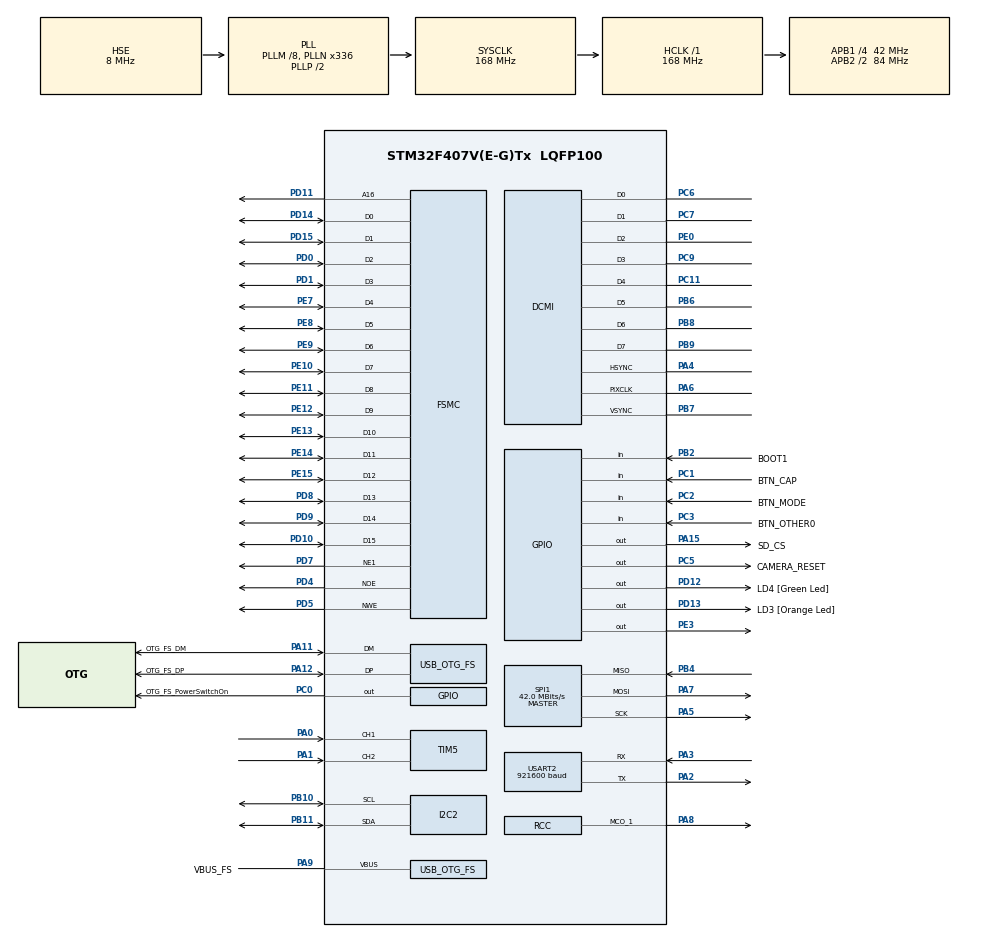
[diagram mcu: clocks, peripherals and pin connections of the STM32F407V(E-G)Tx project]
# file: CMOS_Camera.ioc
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DCMI.JPEGMode=DCMI_JPEG_ENABLE
DCMI.PCKPolarity=DCMI_PCKPOLARITY_RISING
DCMI.VSPolarity=DCMI_VSPOLARITY_HIGH
Dma.DCMI.1.Direction=DMA_PERIPH_TO_MEMORY
Dma.DCMI.1.FIFOMode=DMA_FIFOMODE_DISABLE
Dma.DCMI.1.Instance=DMA2_Stream1
Dma.DCMI.1.MemDataAlignment=DMA_MDATAALIGN_WORD
Dma.DCMI.1.MemInc=DMA_MINC_DISABLE
Dma.DCMI.1.Mode=DMA_NORMAL
Dma.DCMI.1.PeriphDataAlignment=DMA_PDATAALIGN_WORD
Dma.DCMI.1.PeriphInc=DMA_PINC_DISABLE
Dma.DCMI.1.Priority=DMA_PRIORITY_LOW
Dma.Request0=USART2_RX
Dma.Request1=DCMI
Dma.USART2_RX.0.Direction=DMA_PERIPH_TO_MEMORY
Dma.USART2_RX.0.FIFOMode=DMA_FIFOMODE_DISABLE
Dma.USART2_RX.0.Instance=DMA1_Stream5
Dma.USART2_RX.0.MemDataAlignment=DMA_MDATAALIGN_BYTE
Dma.USART2_RX.0.MemInc=DMA_MINC_ENABLE
Dma.USART2_RX.0.Mode=DMA_CIRCULAR
Dma.USART2_RX.0.PeriphDataAlignment=DMA_PDATAALIGN_BYTE
Dma.USART2_RX.0.PeriphInc=DMA_PINC_DISABLE
Dma.USART2_RX.0.Priority=DMA_PRIORITY_LOW
FREERTOS.Tasks01=defaultTask,0,128,StartDefaultTask,Default,NULL,Dynamic,NULL,NULL
FREERTOS.configENABLE_FPU=0
FREERTOS.configUSE_NEWLIB_REENTRANT=1
FREERTOS.copyHeapFile=1
FSMC.AddressSetupTime1=2
FSMC.BusTurnAroundDuration1=1
FSMC.DataSetupTime1=4
Mcu.Family=STM32F4
Mcu.Name=STM32F407V(E-G)Tx
Mcu.Package=LQFP100
NVIC.DCMI_IRQn=true\:5\:0\:false\:false\:true\:true\:true\:true\:true
NVIC.DMA1_Stream5_IRQn=true\:5\:0\:false\:false\:true\:true\:false\:true\:true
NVIC.DMA2_Stream1_IRQn=true\:5\:0\:false\:false\:true\:true\:false\:true\:true
NVIC.OTG_FS_IRQn=true\:5\:0\:false\:false\:true\:true\:true\:true\:true
NVIC.PriorityGroup=NVIC_PRIORITYGROUP_4
NVIC.RCC_IRQn=true\:5\:0\:false\:false\:true\:true\:true\:false\:true
NVIC.SPI1_IRQn=true\:5\:0\:false\:false\:true\:true\:true\:true\:true
PA0-WKUP.Signal=S_TIM5_CH1
PA1.Signal=S_TIM5_CH2
PA10.GPIO_Label=OTG_FS_ID
PA10.GPIO_Mode=GPIO_MODE_AF_PP
PA10.GPIO_PuPd=GPIO_NOPULL
PA10.GPIO_Speed=GPIO_SPEED_FREQ_LOW
PA10.Signal=USB_OTG_FS_ID
PA11.GPIO_Label=OTG_FS_DM
PA11.GPIO_Mode=GPIO_MODE_AF_PP
PA11.GPIO_PuPd=GPIO_NOPULL
PA11.GPIO_Speed=GPIO_SPEED_FREQ_LOW
PA11.Mode=Host_Only
PA11.Signal=USB_OTG_FS_DM
PA12.GPIO_Label=OTG_FS_DP
PA12.GPIO_Mode=GPIO_MODE_AF_PP
PA12.GPIO_PuPd=GPIO_NOPULL
PA12.GPIO_Speed=GPIO_SPEED_FREQ_LOW
PA12.Mode=Host_Only
PA12.Signal=USB_OTG_FS_DP
PA13.GPIO_Label=SWDIO
PA13.Mode=Serial_Wire
PA13.Signal=SYS_JTMS-SWDIO
PA14.GPIO_Label=SWCLK
PA14.Mode=Serial_Wire
PA14.Signal=SYS_JTCK-SWCLK
PA15.GPIO_Label=SD_CS
PA15.Signal=GPIO_Output
PA2.Mode=Asynchronous
PA2.Signal=USART2_TX
PA3.Mode=Asynchronous
PA3.Signal=USART2_RX
PA4.GPIO_PuPd=GPIO_PULLDOWN
PA4.GPIO_Speed=GPIO_SPEED_FREQ_VERY_HIGH
PA4.Mode=Slave_8_bits_External_Synchro
PA4.Signal=DCMI_HSYNC
PA5.GPIO_Speed=GPIO_SPEED_FREQ_LOW
PA5.Mode=Full_Duplex_Master
PA5.Signal=SPI1_SCK
PA6.GPIO_PuPd=GPIO_PULLDOWN
PA6.GPIO_Speed=GPIO_SPEED_FREQ_VERY_HIGH
PA6.Mode=Slave_8_bits_External_Synchro
PA6.Signal=DCMI_PIXCLK
PA7.GPIO_Speed=GPIO_SPEED_FREQ_LOW
PA7.Mode=Full_Duplex_Master
PA7.Signal=SPI1_MOSI
PA8.GPIO_PuPd=GPIO_NOPULL
PA8.GPIO_Speed=GPIO_SPEED_FREQ_VERY_HIGH
PA8.Mode=Clock-out-1
PA8.Signal=RCC_MCO_1
PA9.GPIO_Label=VBUS_FS
PA9.GPIO_Mode=GPIO_MODE_INPUT
PA9.GPIO_PuPd=GPIO_NOPULL
PA9.Mode=Activate_VBUS
PA9.Signal=USB_OTG_FS_VBUS
PB10.Mode=I2C
PB10.Signal=I2C2_SCL
PB11.Mode=I2C
PB11.Signal=I2C2_SDA
PB2.GPIO_Label=BOOT1
PB2.GPIO_Mode=GPIO_MODE_INPUT
PB2.GPIO_PuPd=GPIO_NOPULL
PB2.Signal=GPIO_Input
PB3.GPIO_Label=SWO
PB3.Signal=SYS_JTDO-SWO
PB4.GPIO_Speed=GPIO_SPEED_FREQ_LOW
PB4.Mode=Full_Duplex_Master
PB4.Signal=SPI1_MISO
PB6.GPIO_PuPd=GPIO_PULLDOWN
PB6.GPIO_Speed=GPIO_SPEED_FREQ_VERY_HIGH
PB6.Mode=Slave_8_bits_External_Synchro
PB6.Signal=DCMI_D5
PB7.GPIO_PuPd=GPIO_PULLDOWN
PB7.GPIO_Speed=GPIO_SPEED_FREQ_VERY_HIGH
PB7.Mode=Slave_8_bits_External_Synchro
PB7.Signal=DCMI_VSYNC
PB8.GPIO_PuPd=GPIO_PULLDOWN
PB8.GPIO_Speed=GPIO_SPEED_FREQ_VERY_HIGH
PB8.Mode=Slave_8_bits_External_Synchro
PB8.Signal=DCMI_D6
PB9.GPIO_PuPd=GPIO_PULLDOWN
PB9.GPIO_Speed=GPIO_SPEED_FREQ_VERY_HIGH
PB9.Mode=Slave_8_bits_External_Synchro
PB9.Signal=DCMI_D7
PC0.GPIO_Label=OTG_FS_PowerSwitchOn
PC0.GPIO_PuPd=GPIO_NOPULL
PC0.GPIO_Speed=GPIO_SPEED_FREQ_LOW
PC0.PinState=GPIO_PIN_SET
PC0.Signal=GPIO_Output
PC1.GPIO_Label=BTN_CAP
PC1.GPIO_PuPd=GPIO_PULLUP
PC1.Signal=GPIO_Input
PC11.GPIO_PuPd=GPIO_PULLDOWN
PC11.GPIO_Speed=GPIO_SPEED_FREQ_VERY_HIGH
PC11.Mode=Slave_8_bits_External_Synchro
PC11.Signal=DCMI_D4
PC14-OSC32_IN.GPIO_Label=PC14-OSC32_IN
PC14-OSC32_IN.Signal=RCC_OSC32_IN
PC15-OSC32_OUT.GPIO_Label=PC15-OSC32_OUT
PC15-OSC32_OUT.Signal=RCC_OSC32_OUT
PC2.GPIO_Label=BTN_MODE
PC2.GPIO_PuPd=GPIO_PULLUP
PC2.Signal=GPIO_Input
PC3.GPIO_Label=BTN_OTHER0
PC3.GPIO_PuPd=GPIO_PULLUP
PC3.Signal=GPIO_Input
PC5.GPIO_Label=CAMERA_RESET
PC5.Signal=GPIO_Output
PC6.GPIO_PuPd=GPIO_PULLDOWN
PC6.GPIO_Speed=GPIO_SPEED_FREQ_VERY_HIGH
PC6.Mode=Slave_8_bits_External_Synchro
PC6.Signal=DCMI_D0
PC7.GPIO_PuPd=GPIO_PULLDOWN
PC7.GPIO_Speed=GPIO_SPEED_FREQ_VERY_HIGH
PC7.Mode=Slave_8_bits_External_Synchro
PC7.Signal=DCMI_D1
PC9.GPIO_PuPd=GPIO_PULLDOWN
PC9.GPIO_Speed=GPIO_SPEED_FREQ_VERY_HIGH
PC9.Mode=Slave_8_bits_External_Synchro
PC9.Signal=DCMI_D3
PD0.Mode=16b-d1
PD0.Signal=FSMC_D2
PD1.Mode=16b-d1
PD1.Signal=FSMC_D3
PD10.Mode=16b-d1
PD10.Signal=FSMC_D15
PD11.Mode=A16_1
PD11.Signal=FSMC_A16
PD12.GPIO_Label=LD4 [Green Led]
PD12.GPIO_PuPd=GPIO_NOPULL
PD12.GPIO_Speed=GPIO_SPEED_FREQ_LOW
PD12.Signal=GPIO_Output
PD13.GPIO_Label=LD3 [Orange Led]
PD13.GPIO_PuPd=GPIO_NOPULL
PD13.GPIO_Speed=GPIO_SPEED_FREQ_LOW
PD13.Signal=GPIO_Output
PD14.Mode=16b-d1
PD14.Signal=FSMC_D0
PD15.Mode=16b-d1
PD15.Signal=FSMC_D1
PD4.Mode=Lcd1
PD4.Signal=FSMC_NOE
PD5.Mode=Lcd1
PD5.Signal=FSMC_NWE
PD7.Mode=NorPsramChipSelect1_1
PD7.Signal=FSMC_NE1
PD8.Mode=16b-d1
PD8.Signal=FSMC_D13
PD9.Mode=16b-d1
PD9.Signal=FSMC_D14
PE0.GPIO_PuPd=GPIO_PULLDOWN
PE0.GPIO_Speed=GPIO_SPEED_FREQ_VERY_HIGH
PE0.Mode=Slave_8_bits_External_Synchro
PE0.Signal=DCMI_D2
PE10.Mode=16b-d1
PE10.Signal=FSMC_D7
PE11.Mode=16b-d1
PE11.Signal=FSMC_D8
PE12.Mode=16b-d1
PE12.Signal=FSMC_D9
PE13.Mode=16b-d1
PE13.Signal=FSMC_D10
PE14.Mode=16b-d1
PE14.Signal=FSMC_D11
PE15.Mode=16b-d1
PE15.Signal=FSMC_D12
PE3.Signal=GPIO_Output
PE7.Mode=16b-d1
PE7.Signal=FSMC_D4
PE8.Mode=16b-d1
PE8.Signal=FSMC_D5
PE9.Mode=16b-d1
PE9.Signal=FSMC_D6
PH0-OSC_IN.GPIO_Label=PH0-OSC_IN
PH0-OSC_IN.Mode=HSE-External-Oscillator
PH0-OSC_IN.Signal=RCC_OSC_IN
PH1-OSC_OUT.GPIO_Label=PH1-OSC_OUT
PH1-OSC_OUT.Mode=HSE-External-Oscillator
PH1-OSC_OUT.Signal=RCC_OSC_OUT
ProjectManager.HeapSize=0x200
ProjectManager.StackSize=0x400
ProjectManager.TargetToolchain=STM32CubeIDE
RCC.48MHZClocksFreq_Value=48000000
RCC.AHBFreq_Value=168000000
RCC.APB1CLKDivider=RCC_HCLK_DIV4
RCC.APB1Freq_Value=42000000
RCC.APB1TimFreq_Value=84000000
RCC.APB2CLKDivider=RCC_HCLK_DIV2
RCC.APB2Freq_Value=84000000
RCC.APB2TimFreq_Value=168000000
RCC.CortexFreq_Value=168000000
RCC.HCLKFreq_Value=168000000
RCC.HSE_VALUE=8000000
RCC.HSI_VALUE=16000000
RCC.LSE_VALUE=32768
RCC.PLLM=8
RCC.PLLN=336
RCC.PLLQ=7
RCC.RCC_MCO1Source=RCC_MCO1SOURCE_PLLCLK
RCC.RCC_MCODiv1=RCC_MCODIV_4
RCC.SYSCLKFreq_VALUE=168000000
RCC.SYSCLKSource=RCC_SYSCLKSOURCE_PLLCLK
RCC.VCOOutputFreq_Value=336000000
SH.S_TIM5_CH1.0=TIM5_CH1,Encoder_Interface
SH.S_TIM5_CH2.0=TIM5_CH2,Encoder_Interface
SPI1.CalculateBaudRate=42.0 MBits/s
SPI1.Direction=SPI_DIRECTION_2LINES
SPI1.Mode=SPI_MODE_MASTER
SPI1.VirtualType=VM_MASTER
USART2.BaudRate=921600
USART2.VirtualMode=VM_ASYNC
USB_HOST.BSP.number=1
USB_HOST.USBH_HandleTypeDef-CDC_FS=hUsbHostFS
USB_HOST.USBH_USE_OS-CDC_FS=0
USB_HOST.VirtualModeFS=Cdc
USB_HOST0.BSP.STBoard=false
USB_HOST0.BSP.api=Unknown
USB_HOST0.BSP.instance=PC0
USB_HOST0.BSP.ip=GPIO
USB_HOST0.BSP.mode=Output
USB_HOST0.BSP.name=Drive_VBUS_FS
USB_HOST0.BSP.solution=PC0
USB_OTG_FS.VirtualMode=Host_Only
USB_OTG_FS.phy_itface=HCD_PHY_EMBEDDED
VP_FATFS_VS_Generic.Mode=User_defined
VP_FREERTOS_VS_CMSIS_V1.Mode=CMSIS_V1
VP_LIBJPEG_VS_JPEGLIB.Mode=Enabled
VP_USB_HOST_VS_USB_HOST_CDC_FS.Mode=CDC_FS
board=STM32F407G-DISC1

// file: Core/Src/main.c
/* USER CODE BEGIN Header */
/**
  ******************************************************************************
  * @file           : main.c
  * @brief          : Main program body
  ******************************************************************************
  * @attention
  *
  * Copyright (c) 2024 STMicroelectronics.
  * All rights reserved.
  *
  * This software is licensed under terms that can be found in the LICENSE file
  * in the root directory of this software component.
  * If no LICENSE file comes with this software, it is provided AS-IS.
  *
  ******************************************************************************
  */
/* USER CODE END Header */
#include "main.h"
#include "cmsis_os.h"
#include "fatfs.h"
#include "libjpeg.h"
#include "usb_host.h"

/* USER CODE BEGIN Includes */
#include "stm32f4xx_hal.h"
#include "common.h"
#include "lcdIli9341/lcdIli9341.h"
#include "ov7670/ov7670.h"
/* USER CODE END Includes */

DCMI_HandleTypeDef hdcmi;
DMA_HandleTypeDef hdma_dcmi;

I2C_HandleTypeDef hi2c2;

SPI_HandleTypeDef hspi1;

TIM_HandleTypeDef htim5;

UART_HandleTypeDef huart2;
DMA_HandleTypeDef hdma_usart2_rx;

SRAM_HandleTypeDef hsram1;

osThreadId defaultTaskHandle;

void SystemClock_Config(void);
static void MX_GPIO_Init(void);
static void MX_DMA_Init(void);
static void MX_SPI1_Init(void);
static void MX_DCMI_Init(void);
static void MX_FSMC_Init(void);
static void MX_I2C2_Init(void);
static void MX_TIM5_Init(void);
static void MX_USART2_UART_Init(void);
void StartDefaultTask(void const * argument);

int main(void)
{

  /* MCU Configuration--------------------------------------------------------*/

  /* Reset of all peripherals, Initializes the Flash interface and the Systick. */
  HAL_Init();

  /* Configure the system clock */
  SystemClock_Config();

  /* Initialize all configured peripherals */
  MX_GPIO_Init();
  MX_DMA_Init();
  MX_SPI1_Init();
  MX_DCMI_Init();
  MX_FSMC_Init();
  MX_I2C2_Init();
  MX_TIM5_Init();
  MX_USART2_UART_Init();
  MX_LIBJPEG_Init();
  MX_FATFS_Init();
  /* USER CODE BEGIN 2 */
  /* initialize system */
  retarget_init();
  //printf("\n");
  printf("Lynn Huang\n");

  /*initialize LCD */
  lcdIli9341_init();
  //lcdIli9341_drawRect(100, 100, 80, 40, LCD_ILI9342_COLOR_RED);

  uint16_t* p_lcdData;
  p_lcdData = lcdIli9341_getDrawAddress();

  lcdIli9341_setArea(0, 0, LCD_ILI9342_WIDTH -1, LCD_ILI9342_HEIGHT - 1);
  for (uint32_t y = 0 * LCD_ILI9342_HEIGHT/3; y < 1 * LCD_ILI9342_HEIGHT/3; y++){
  	for (uint32_t x = 0; x < LCD_ILI9342_WIDTH; x++){
  		*p_lcdData = LCD_ILI9342_COLOR_RED;
  		}

  }

  for (uint32_t y = 1 * LCD_ILI9342_HEIGHT/3; y < 2 * LCD_ILI9342_HEIGHT/3; y++){
  	for (uint32_t x = 0; x < LCD_ILI9342_WIDTH; x++){
  		*p_lcdData = LCD_ILI9342_COLOR_GREEN;
  		}

  }

  for (uint32_t y = 2 * LCD_ILI9342_HEIGHT/3; y < 3 * LCD_ILI9342_HEIGHT/3; y++){
  	for (uint32_t x = 0; x < LCD_ILI9342_WIDTH; x++){
  		*p_lcdData = LCD_ILI9342_COLOR_BLUE;
  		}

  }

  /* init Camera */
  ov7670_init(&hdcmi, &hdma_dcmi, &hi2c2);
  ov7670_config (OV7670_MODE_QVGA_RGB565);
  //ov7670_startCap(OV7670_CAP_CONTINUOUS, p_lcdData);
  ov7670_startCap(OV7670_CAP_CONTINUOUS, p_lcdData);
  /* USER CODE END 2 */

  /* Create the thread(s) */
  /* definition and creation of defaultTask */
  osThreadDef(defaultTask, StartDefaultTask, osPriorityNormal, 0, 128);
  defaultTaskHandle = osThreadCreate(osThread(defaultTask), NULL);

  /* Start scheduler */
  osKernelStart();

  /* We should never get here as control is now taken by the scheduler */
  /* Infinite loop */
  /* USER CODE BEGIN WHILE */
  while (1)
  {
	// char ch = getchar();
	// printf("%c", ch);
    /* USER CODE END WHILE */

  }
}

void SystemClock_Config(void)
{
  RCC_OscInitTypeDef RCC_OscInitStruct = {0};
  RCC_ClkInitTypeDef RCC_ClkInitStruct = {0};

  /** Configure the main internal regulator output voltage
  */
  __HAL_RCC_PWR_CLK_ENABLE();
  __HAL_PWR_VOLTAGESCALING_CONFIG(PWR_REGULATOR_VOLTAGE_SCALE1);

  /** Initializes the RCC Oscillators according to the specified parameters
  * in the RCC_OscInitTypeDef structure.
  */
  RCC_OscInitStruct.OscillatorType = RCC_OSCILLATORTYPE_HSE;
  RCC_OscInitStruct.HSEState = RCC_HSE_ON;
  RCC_OscInitStruct.PLL.PLLState = RCC_PLL_ON;
  RCC_OscInitStruct.PLL.PLLSource = RCC_PLLSOURCE_HSE;
  RCC_OscInitStruct.PLL.PLLM = 8;
  RCC_OscInitStruct.PLL.PLLN = 336;
  RCC_OscInitStruct.PLL.PLLP = RCC_PLLP_DIV2;
  RCC_OscInitStruct.PLL.PLLQ = 7;
  if (HAL_RCC_OscConfig(&RCC_OscInitStruct) != HAL_OK)
  {
    Error_Handler();
  }

  /** Initializes the CPU, AHB and APB buses clocks
  */
  RCC_ClkInitStruct.ClockType = RCC_CLOCKTYPE_HCLK|RCC_CLOCKTYPE_SYSCLK
                              |RCC_CLOCKTYPE_PCLK1|RCC_CLOCKTYPE_PCLK2;
  RCC_ClkInitStruct.SYSCLKSource = RCC_SYSCLKSOURCE_PLLCLK;
  RCC_ClkInitStruct.AHBCLKDivider = RCC_SYSCLK_DIV1;
  RCC_ClkInitStruct.APB1CLKDivider = RCC_HCLK_DIV4;
  RCC_ClkInitStruct.APB2CLKDivider = RCC_HCLK_DIV2;

  if (HAL_RCC_ClockConfig(&RCC_ClkInitStruct, FLASH_LATENCY_5) != HAL_OK)
  {
    Error_Handler();
  }
  HAL_RCC_MCOConfig(RCC_MCO1, RCC_MCO1SOURCE_PLLCLK, RCC_MCODIV_4);
}

static void MX_DCMI_Init(void)
{

  hdcmi.Instance = DCMI;
  hdcmi.Init.SynchroMode = DCMI_SYNCHRO_HARDWARE;
  hdcmi.Init.PCKPolarity = DCMI_PCKPOLARITY_RISING;
  hdcmi.Init.VSPolarity = DCMI_VSPOLARITY_HIGH;
  hdcmi.Init.HSPolarity = DCMI_HSPOLARITY_LOW;
  hdcmi.Init.CaptureRate = DCMI_CR_ALL_FRAME;
  hdcmi.Init.ExtendedDataMode = DCMI_EXTEND_DATA_8B;
  hdcmi.Init.JPEGMode = DCMI_JPEG_ENABLE;
  if (HAL_DCMI_Init(&hdcmi) != HAL_OK)
  {
    Error_Handler();
  }

}

static void MX_I2C2_Init(void)
{

  hi2c2.Instance = I2C2;
  hi2c2.Init.ClockSpeed = 100000;
  hi2c2.Init.DutyCycle = I2C_DUTYCYCLE_2;
  hi2c2.Init.OwnAddress1 = 0;
  hi2c2.Init.AddressingMode = I2C_ADDRESSINGMODE_7BIT;
  hi2c2.Init.DualAddressMode = I2C_DUALADDRESS_DISABLE;
  hi2c2.Init.OwnAddress2 = 0;
  hi2c2.Init.GeneralCallMode = I2C_GENERALCALL_DISABLE;
  hi2c2.Init.NoStretchMode = I2C_NOSTRETCH_DISABLE;
  if (HAL_I2C_Init(&hi2c2) != HAL_OK)
  {
    Error_Handler();
  }

}

static void MX_SPI1_Init(void)
{

  /* SPI1 parameter configuration*/
  hspi1.Instance = SPI1;
  hspi1.Init.Mode = SPI_MODE_MASTER;
  hspi1.Init.Direction = SPI_DIRECTION_2LINES;
  hspi1.Init.DataSize = SPI_DATASIZE_8BIT;
  hspi1.Init.CLKPolarity = SPI_POLARITY_LOW;
  hspi1.Init.CLKPhase = SPI_PHASE_1EDGE;
  hspi1.Init.NSS = SPI_NSS_SOFT;
  hspi1.Init.BaudRatePrescaler = SPI_BAUDRATEPRESCALER_2;
  hspi1.Init.FirstBit = SPI_FIRSTBIT_MSB;
  hspi1.Init.TIMode = SPI_TIMODE_DISABLE;
  hspi1.Init.CRCCalculation = SPI_CRCCALCULATION_DISABLE;
  hspi1.Init.CRCPolynomial = 10;
  if (HAL_SPI_Init(&hspi1) != HAL_OK)
  {
    Error_Handler();
  }

}

static void MX_TIM5_Init(void)
{

  TIM_Encoder_InitTypeDef sConfig = {0};
  TIM_MasterConfigTypeDef sMasterConfig = {0};

  htim5.Instance = TIM5;
  htim5.Init.Prescaler = 0;
  htim5.Init.CounterMode = TIM_COUNTERMODE_UP;
  htim5.Init.Period = 4294967295;
  htim5.Init.ClockDivision = TIM_CLOCKDIVISION_DIV1;
  htim5.Init.AutoReloadPreload = TIM_AUTORELOAD_PRELOAD_DISABLE;
  sConfig.EncoderMode = TIM_ENCODERMODE_TI1;
  sConfig.IC1Polarity = TIM_ICPOLARITY_RISING;
  sConfig.IC1Selection = TIM_ICSELECTION_DIRECTTI;
  sConfig.IC1Prescaler = TIM_ICPSC_DIV1;
  sConfig.IC1Filter = 0;
  sConfig.IC2Polarity = TIM_ICPOLARITY_RISING;
  sConfig.IC2Selection = TIM_ICSELECTION_DIRECTTI;
  sConfig.IC2Prescaler = TIM_ICPSC_DIV1;
  sConfig.IC2Filter = 0;
  if (HAL_TIM_Encoder_Init(&htim5, &sConfig) != HAL_OK)
  {
    Error_Handler();
  }
  sMasterConfig.MasterOutputTrigger = TIM_TRGO_RESET;
  sMasterConfig.MasterSlaveMode = TIM_MASTERSLAVEMODE_DISABLE;
  if (HAL_TIMEx_MasterConfigSynchronization(&htim5, &sMasterConfig) != HAL_OK)
  {
    Error_Handler();
  }

}

static void MX_USART2_UART_Init(void)
{

  huart2.Instance = USART2;
  huart2.Init.BaudRate = 921600;
  huart2.Init.WordLength = UART_WORDLENGTH_8B;
  huart2.Init.StopBits = UART_STOPBITS_1;
  huart2.Init.Parity = UART_PARITY_NONE;
  huart2.Init.Mode = UART_MODE_TX_RX;
  huart2.Init.HwFlowCtl = UART_HWCONTROL_NONE;
  huart2.Init.OverSampling = UART_OVERSAMPLING_16;
  if (HAL_UART_Init(&huart2) != HAL_OK)
  {
    Error_Handler();
  }

}

static void MX_DMA_Init(void)
{

  /* DMA controller clock enable */
  __HAL_RCC_DMA1_CLK_ENABLE();
  __HAL_RCC_DMA2_CLK_ENABLE();

  /* DMA interrupt init */
  /* DMA1_Stream5_IRQn interrupt configuration */
  HAL_NVIC_SetPriority(DMA1_Stream5_IRQn, 5, 0);
  HAL_NVIC_EnableIRQ(DMA1_Stream5_IRQn);
  /* DMA2_Stream1_IRQn interrupt configuration */
  HAL_NVIC_SetPriority(DMA2_Stream1_IRQn, 5, 0);
  HAL_NVIC_EnableIRQ(DMA2_Stream1_IRQn);

}

static void MX_GPIO_Init(void)
{
  GPIO_InitTypeDef GPIO_InitStruct = {0};

  /* GPIO Ports Clock Enable */
  __HAL_RCC_GPIOE_CLK_ENABLE();
  __HAL_RCC_GPIOC_CLK_ENABLE();
  __HAL_RCC_GPIOH_CLK_ENABLE();
  __HAL_RCC_GPIOA_CLK_ENABLE();
  __HAL_RCC_GPIOB_CLK_ENABLE();
  __HAL_RCC_GPIOD_CLK_ENABLE();

  /*Configure GPIO pin Output Level */
  HAL_GPIO_WritePin(GPIOE, GPIO_PIN_3, GPIO_PIN_RESET);

  /*Configure GPIO pin Output Level */
  HAL_GPIO_WritePin(OTG_FS_PowerSwitchOn_GPIO_Port, OTG_FS_PowerSwitchOn_Pin, GPIO_PIN_SET);

  /*Configure GPIO pin Output Level */
  HAL_GPIO_WritePin(CAMERA_RESET_GPIO_Port, CAMERA_RESET_Pin, GPIO_PIN_RESET);

  /*Configure GPIO pin Output Level */
  HAL_GPIO_WritePin(GPIOD, LD4_Pin|LD3_Pin, GPIO_PIN_RESET);

  /*Configure GPIO pin Output Level */
  HAL_GPIO_WritePin(SD_CS_GPIO_Port, SD_CS_Pin, GPIO_PIN_RESET);

  /*Configure GPIO pin : PE3 */
  GPIO_InitStruct.Pin = GPIO_PIN_3;
  GPIO_InitStruct.Mode = GPIO_MODE_OUTPUT_PP;
  GPIO_InitStruct.Pull = GPIO_NOPULL;
  GPIO_InitStruct.Speed = GPIO_SPEED_FREQ_LOW;
  HAL_GPIO_Init(GPIOE, &GPIO_InitStruct);

  /*Configure GPIO pins : OTG_FS_PowerSwitchOn_Pin CAMERA_RESET_Pin */
  GPIO_InitStruct.Pin = OTG_FS_PowerSwitchOn_Pin|CAMERA_RESET_Pin;
  GPIO_InitStruct.Mode = GPIO_MODE_OUTPUT_PP;
  GPIO_InitStruct.Pull = GPIO_NOPULL;
  GPIO_InitStruct.Speed = GPIO_SPEED_FREQ_LOW;
  HAL_GPIO_Init(GPIOC, &GPIO_InitStruct);

  /*Configure GPIO pins : BTN_CAP_Pin BTN_MODE_Pin BTN_OTHER0_Pin */
  GPIO_InitStruct.Pin = BTN_CAP_Pin|BTN_MODE_Pin|BTN_OTHER0_Pin;
  GPIO_InitStruct.Mode = GPIO_MODE_INPUT;
  GPIO_InitStruct.Pull = GPIO_PULLUP;
  HAL_GPIO_Init(GPIOC, &GPIO_InitStruct);

  /*Configure GPIO pin : BOOT1_Pin */
  GPIO_InitStruct.Pin = BOOT1_Pin;
  GPIO_InitStruct.Mode = GPIO_MODE_INPUT;
  GPIO_InitStruct.Pull = GPIO_NOPULL;
  HAL_GPIO_Init(BOOT1_GPIO_Port, &GPIO_InitStruct);

  /*Configure GPIO pins : LD4_Pin LD3_Pin */
  GPIO_InitStruct.Pin = LD4_Pin|LD3_Pin;
  GPIO_InitStruct.Mode = GPIO_MODE_OUTPUT_PP;
  GPIO_InitStruct.Pull = GPIO_NOPULL;
  GPIO_InitStruct.Speed = GPIO_SPEED_FREQ_LOW;
  HAL_GPIO_Init(GPIOD, &GPIO_InitStruct);

  /*Configure GPIO pin : PA8 */
  GPIO_InitStruct.Pin = GPIO_PIN_8;
  GPIO_InitStruct.Mode = GPIO_MODE_AF_PP;
  GPIO_InitStruct.Pull = GPIO_NOPULL;
  GPIO_InitStruct.Speed = GPIO_SPEED_FREQ_VERY_HIGH;
  GPIO_InitStruct.Alternate = GPIO_AF0_MCO;
  HAL_GPIO_Init(GPIOA, &GPIO_InitStruct);

  /*Configure GPIO pin : SD_CS_Pin */
  GPIO_InitStruct.Pin = SD_CS_Pin;
  GPIO_InitStruct.Mode = GPIO_MODE_OUTPUT_PP;
  GPIO_InitStruct.Pull = GPIO_NOPULL;
  GPIO_InitStruct.Speed = GPIO_SPEED_FREQ_LOW;
  HAL_GPIO_Init(SD_CS_GPIO_Port, &GPIO_InitStruct);

}

/* FSMC initialization function */
static void MX_FSMC_Init(void)
{

  FSMC_NORSRAM_TimingTypeDef Timing = {0};

  /** Perform the SRAM1 memory initialization sequence
  */
  hsram1.Instance = FSMC_NORSRAM_DEVICE;
  hsram1.Extended = FSMC_NORSRAM_EXTENDED_DEVICE;
  /* hsram1.Init */
  hsram1.Init.NSBank = FSMC_NORSRAM_BANK1;
  hsram1.Init.DataAddressMux = FSMC_DATA_ADDRESS_MUX_DISABLE;
  hsram1.Init.MemoryType = FSMC_MEMORY_TYPE_SRAM;
  hsram1.Init.MemoryDataWidth = FSMC_NORSRAM_MEM_BUS_WIDTH_16;
  hsram1.Init.BurstAccessMode = FSMC_BURST_ACCESS_MODE_DISABLE;
  hsram1.Init.WaitSignalPolarity = FSMC_WAIT_SIGNAL_POLARITY_LOW;
  hsram1.Init.WrapMode = FSMC_WRAP_MODE_DISABLE;
  hsram1.Init.WaitSignalActive = FSMC_WAIT_TIMING_BEFORE_WS;
  hsram1.Init.WriteOperation = FSMC_WRITE_OPERATION_ENABLE;
  hsram1.Init.WaitSignal = FSMC_WAIT_SIGNAL_DISABLE;
  hsram1.Init.ExtendedMode = FSMC_EXTENDED_MODE_DISABLE;
  hsram1.Init.AsynchronousWait = FSMC_ASYNCHRONOUS_WAIT_DISABLE;
  hsram1.Init.WriteBurst = FSMC_WRITE_BURST_DISABLE;
  hsram1.Init.PageSize = FSMC_PAGE_SIZE_NONE;
  /* Timing */
  Timing.AddressSetupTime = 2;
  Timing.AddressHoldTime = 15;
  Timing.DataSetupTime = 4;
  Timing.BusTurnAroundDuration = 1;
  Timing.CLKDivision = 16;
  Timing.DataLatency = 17;
  Timing.AccessMode = FSMC_ACCESS_MODE_A;
  /* ExtTiming */

  if (HAL_SRAM_Init(&hsram1, &Timing, NULL) != HAL_OK)
  {
    Error_Handler( );
  }

}

void StartDefaultTask(void const * argument)
{
  /* init code for USB_HOST */
  MX_USB_HOST_Init();
  for(;;)
  {
    osDelay(1);
  }
}

void Error_Handler(void)
{
  __disable_irq();
  while (1)
  {
  }
}
